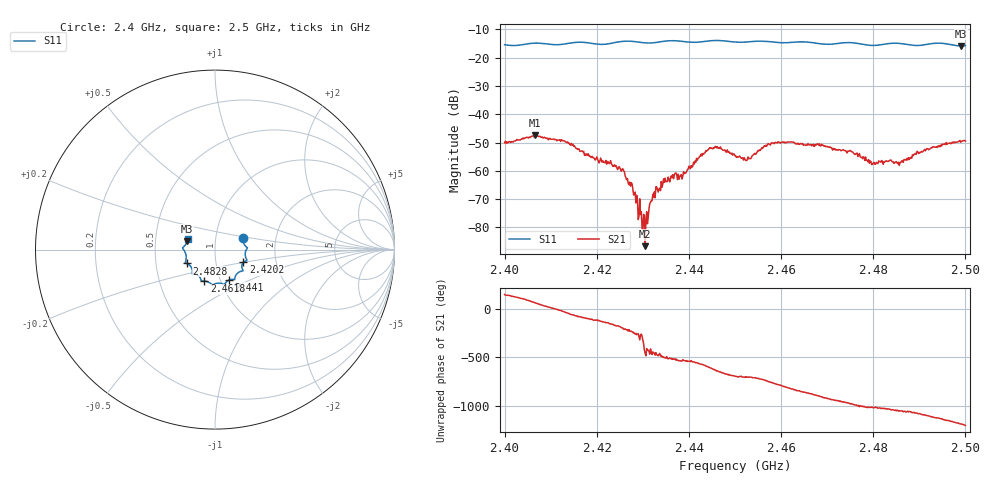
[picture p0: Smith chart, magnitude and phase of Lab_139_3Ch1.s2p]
# Hz S RI R 50
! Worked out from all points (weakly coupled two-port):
!   601 points, 2.4 GHz to 2.5 GHz, reference 50 ohm
!   highest |S21| = -47.51 dB at 2.4067 GHz (marker M1); lowest = -86.6 dB at 2.4305 GHz (marker M2)
!   lowest |S11| = -15.8 dB at 2.499 GHz (marker M3), VSWR 1.39, Z = 36.5 + j3.49 ohm
!   |S11| at or under -10 dB: start of sweep to end of sweep
!   S12 and S22 are empty: the file has one direction only
!   S11 on the Smith chart (normalised r, x): 2.4 GHz: 1.36, +0.18; 2.4202 GHz: 1.36, -0.20; 2.441 GHz: 1.10, -0.39; 2.4618 GHz: 0.84, -0.30; 2.4828 GHz: 0.72, -0.11; 2.5 GHz: 0.73, +0.09
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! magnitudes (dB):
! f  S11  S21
! 2.4 GHz  -15.4  -50.1
! 2.4067 GHz  -14.9  -47.5
! 2.4167 GHz  -14.5  -53.0
! 2.4202 GHz  -15.2  -55.8
! 2.4255 GHz  -14.2  -59.4
! 2.4278 GHz  -14.2  -66.5
! 2.4295 GHz  -14.6  -75.4
! 2.4305 GHz  -14.8  -86.6
! 2.432 GHz  -14.8  -70.6
! 2.4333 GHz  -14.5  -67.5
! 2.441 GHz  -14.6  -56.9
! 2.4453 GHz  -13.9  -51.8
! 2.45 GHz  -14.5  -54.7
! 2.4528 GHz  -14.4  -55.1
! 2.4568 GHz  -14.2  -51.3
! 2.4618 GHz  -14.6  -49.9
! 2.4667 GHz  -14.6  -51.2
! 2.4828 GHz  -15.1  -56.5
! 2.4833 GHz  -15.0  -56.7
! 2.4857 GHz  -15.0  -58.1
! 2.499 GHz  -15.8  -49.9
! 2.5 GHz  -15.7  -49.5
